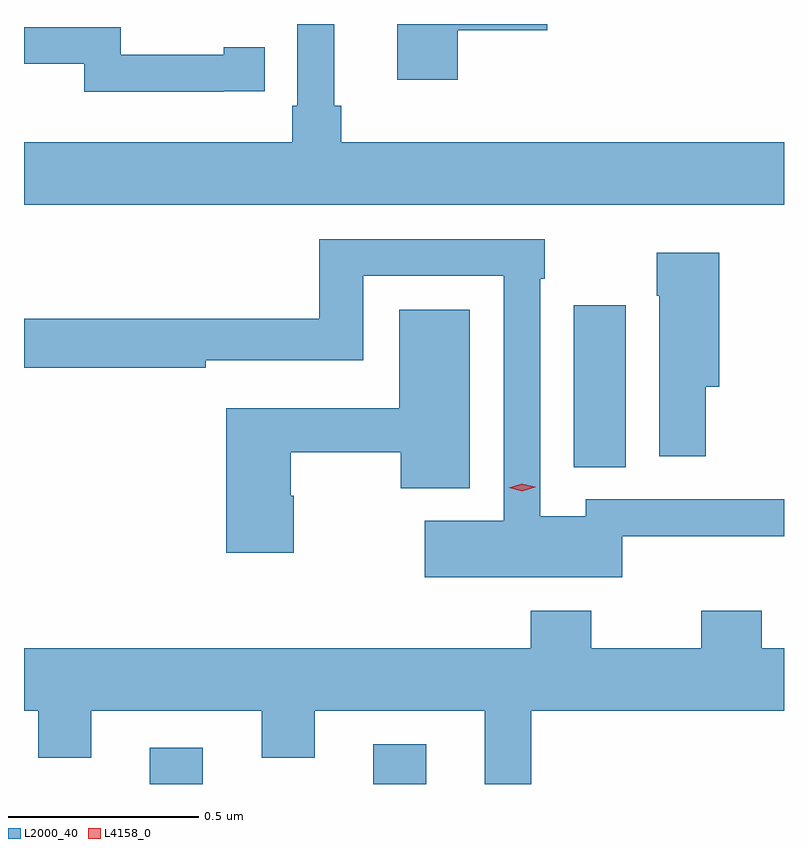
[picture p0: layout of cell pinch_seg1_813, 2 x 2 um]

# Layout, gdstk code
import gdstk
lib = gdstk.Library(unit=1e-6, precision=1e-09)
def R(c, l, rs):  # rectangles x0, y0, x1, y1
    for r in rs: c.add(gdstk.rectangle(r[:2], r[2:], *l))
def P(c, l, *ps):  # polygons
    for p in ps: c.add(gdstk.Polygon(p, *l))
L2000_40 = (2000, 40)
L4158_0 = (4158, 0)

pinch_seg1_813 = lib.new_cell('pinch_seg1_813')
R(pinch_seg1_813, L2000_40, [(375.143,579.511,375.283,579.607), (375.731,579.511,375.871,579.616), (376.259,580.345,376.396,580.771)])
P(pinch_seg1_813, L2000_40, [(375.953,581.494),(376.189,581.494),(376.189,581.511),(375.794,581.511),(375.794,581.364),(375.953,581.364)],
  [(376.812,581.2),(375.647,581.2),(375.647,581.296),(375.628,581.296),(375.628,581.511),(375.531,581.511),(375.531,581.296),(375.518,581.296),(375.518,581.2),(374.812,581.2),(374.812,581.036),(376.812,581.036)],
  [(375.338,581.334),(375.446,581.334),(375.446,581.45),(375.338,581.45),(375.338,581.43),(375.066,581.43),(375.066,581.502),(374.812,581.502),(374.812,581.406),(374.97,581.406),(374.97,581.333),(375.338,581.333)],
  [(376.386,580.163),(376.812,580.163),(376.812,580.261),(376.799,580.261),(376.799,580.26),(376.29,580.26),(376.29,580.216),(376.17,580.216),(376.17,580.841),(376.183,580.841),(376.183,580.944),(375.589,580.944),(375.589,580.735),(374.812,580.735),(374.812,580.606),(375.29,580.606),(375.29,580.626),(375.705,580.626),(375.705,580.848),(376.074,580.848),(376.074,580.204),(375.867,580.204),(375.867,580.055),(376.386,580.055)],
  [(376.606,580.556),(376.642,580.556),(376.642,580.909),(376.477,580.909),(376.477,580.796),(376.484,580.796),(376.484,580.374),(376.606,580.374)],
  [(375.522,580.269),(375.514,580.269),(375.514,580.384),(375.804,580.384),(375.804,580.289),(375.985,580.289),(375.985,580.759),(375.8,580.759),(375.8,580.5),(375.344,580.5),(375.344,580.119),(375.522,580.119)],
  [(376.147,579.704),(376.812,579.704),(376.812,579.868),(376.754,579.868),(376.754,579.967),(376.594,579.967),(376.594,579.868),(376.305,579.868),(376.305,579.967),(376.145,579.967),(376.145,579.868),(374.812,579.868),(374.812,579.704),(374.849,579.704),(374.849,579.58),(374.989,579.58),(374.989,579.704),(375.437,579.704),(375.437,579.58),(375.577,579.58),(375.577,579.704),(376.025,579.704),(376.025,579.511),(376.147,579.511)])
P(pinch_seg1_813, L4158_0, [(376.123,580.281),(376.088,580.29),(376.088,580.29),(376.088,580.29),(376.122,580.301),(376.158,580.293),(376.158,580.293),(376.158,580.292)])

lib.write_gds('pinch_seg1_813.gds')
